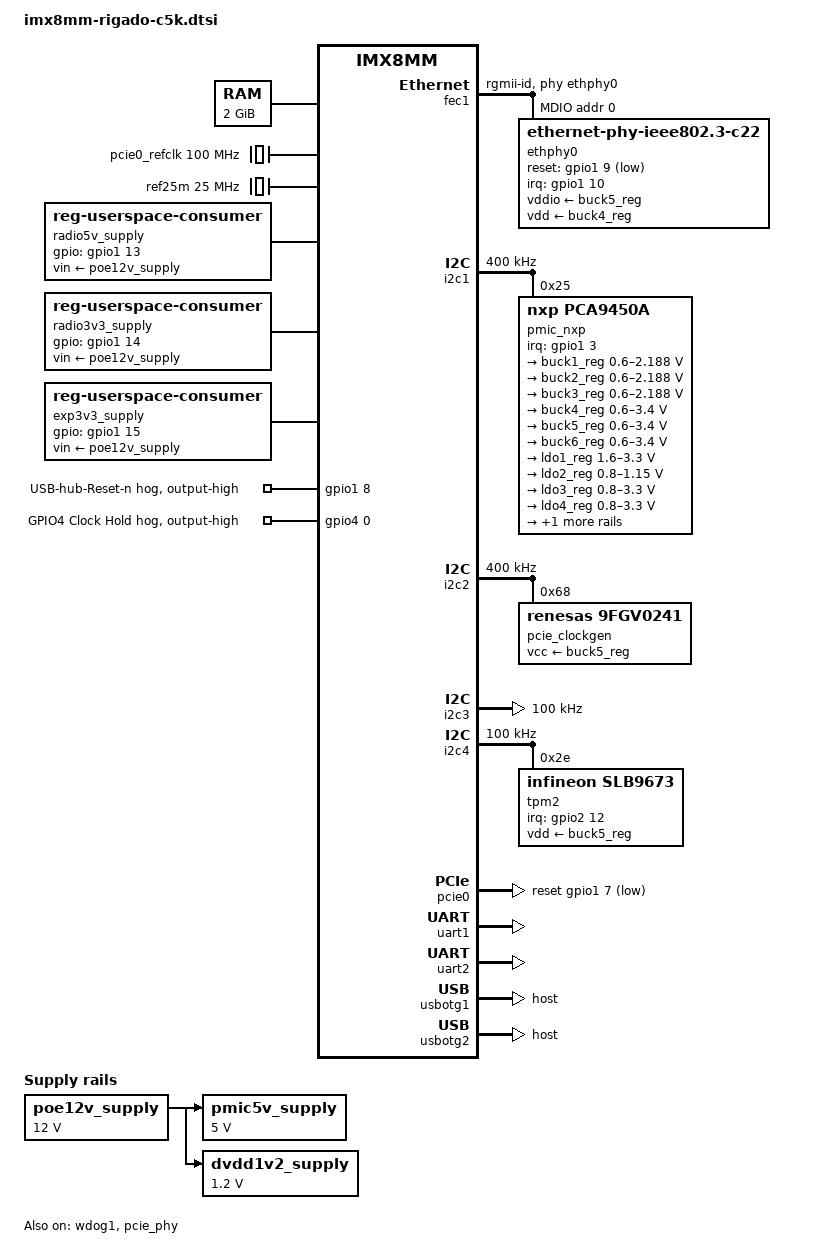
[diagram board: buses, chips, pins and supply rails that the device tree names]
// SPDX-License-Identifier: (GPL-2.0+ OR MIT)
/*
 * Copyright 2025 Rigado
 * Based on imx8mm-evk.dts, Copyright 2020 NXP
*/
/dts-v1/;

#include <dt-bindings/phy/phy-imx8-pcie.h>
#include <dt-bindings/usb/pd.h>
#include "imx8mm.dtsi"

/ {
	chosen {
		stdout-path = &uart2;
	};

	memory@40000000 {
		device_type = "memory";
		reg = <0x0 0x40000000 0 0x80000000>;
	};

	pcie0_refclk: pcie0-refclk {
		compatible = "fixed-clock";
		#clock-cells = <0>;
		clock-frequency = <100000000>;
	};

	ref25m: ref25m {
		compatible = "fixed-clock";
		#clock-cells = <0>;
		clock-frequency = <25000000>;
	};

	poe12v_supply: poe12v-supply {
		compatible = "regulator-fixed";
		regulator-name = "PoE Main 12V Power";
		regulator-min-microvolt = <12000000>;
		regulator-max-microvolt = <12000000>;
		regulator-boot-on;
	};

	pmic5v_supply: pmic5v-supply {
		compatible = "regulator-fixed";
		regulator-name = "PMIC 5V Main Power";
		regulator-min-microvolt = <5000000>;
		regulator-max-microvolt = <5000000>;
		regulator-boot-on;
		vin-supply = <&poe12v_supply>;
	};

	radio5v_supply: radio5v-supply {
		compatible = "reg-userspace-consumer";
		regulator-name = "Radio Board 5V Main Power";
		regulator-min-microvolt = <5000000>;
		regulator-max-microvolt = <5000000>;
		gpio = <&gpio1 13 GPIO_ACTIVE_HIGH>;
		startup-delay-us = <70000>;
		enable-active-high;
		vin-supply = <&poe12v_supply>;
	};

	radio3v3_supply: radio3v3-supply {
		compatible = "reg-userspace-consumer";
		regulator-name = "Radio Board 3.3V Main Power";
		regulator-min-microvolt = <3300000>;
		regulator-max-microvolt = <3300000>;
		gpio = <&gpio1 14 GPIO_ACTIVE_HIGH>;
		startup-delay-us = <70000>;
		enable-active-high;
		vin-supply = <&poe12v_supply>;
	};

	exp3v3_supply: exp3v3-supply {
		compatible = "reg-userspace-consumer";
		regulator-name = "m-PCIe M.2 Expansion 3.3V Power";
		regulator-min-microvolt = <3300000>;
		regulator-max-microvolt = <3300000>;
		gpio = <&gpio1 15 GPIO_ACTIVE_HIGH>;
		startup-delay-us = <70000>;
		enable-active-high;
		vin-supply = <&poe12v_supply>;
	};

	dvdd1v2_supply: dvdd1v2-supply {
		compatible = "regulator-fixed";
		regulator-name = "PCIe Switch 1.2V Power";
		regulator-min-microvolt = <1200000>;
		regulator-max-microvolt = <1200000>;
		regulator-boot-on;
		vin-supply = <&poe12v_supply>;
	};
};

&A53_0 {
	cpu-supply = <&buck2_reg>;
};

&A53_1 {
	cpu-supply = <&buck2_reg>;
};

&A53_2 {
	cpu-supply = <&buck2_reg>;
};

&A53_3 {
	cpu-supply = <&buck2_reg>;
};

&wdog1 {
	pinctrl-names = "default";
	pinctrl-0 = <&pinctrl_wdog>;
	fsl,ext-reset-output;
	status = "okay";
};

&fec1 {
	pinctrl-names = "default";
	pinctrl-0 = <&pinctrl_fec1>;
	phy-mode = "rgmii-id";
	phy-handle = <&ethphy0>;
	fsl,magic-packet;
	status = "okay";

	mdio {
		#address-cells = <1>;
		#size-cells = <0>;

		ethphy0: ethernet-phy@0 {
			compatible = "ethernet-phy-ieee802.3-c22";
			interrupt-parent = <&gpio1>;
			interrupts = <10 IRQ_TYPE_LEVEL_LOW>;
			reg = <0>;
			reset-gpios = <&gpio1 9 GPIO_ACTIVE_LOW>;
			reset-assert-us = <10000>;
			reset-deassert-us = <80000>;
			at803x,led-act-blind-workaround;
			at803x,eee-okay;
			at803x,vddio-1p8v;
			vddio-supply = <&buck5_reg>;
			vdd-supply = <&buck4_reg>;
		};
	};
};

&i2c1 {
	clock-frequency = <400000>;
	pinctrl-names = "default";
	pinctrl-0 = <&pinctrl_i2c1>;
	status = "okay";
	pmic_nxp: pca9450@25 {
		compatible = "nxp,pca9450a";
		reg = <0x25>;
		pinctrl-0 = <&pinctrl_pmic>;
		pinctrl-names = "default";
		interrupt-parent = <&gpio1>;
		interrupts = <3 IRQ_TYPE_LEVEL_LOW>;

		regulators {
			buck1_reg: BUCK1 {
				regulator-name = "BUCK1";
				regulator-min-microvolt = <600000>;
				regulator-max-microvolt = <2187500>;
				regulator-boot-on;
				regulator-always-on;
				regulator-ramp-delay = <3125>;
				nxp,dvs-run-voltage = <850000>;
				nxp,dvs-standby-voltage = <800000>;
				vin-supply = <&pmic5v_supply>;
			};

			buck2_reg: BUCK2 {
				regulator-name = "BUCK2";
				regulator-min-microvolt = <600000>;
				regulator-max-microvolt = <2187500>;
				regulator-boot-on;
				regulator-always-on;
				regulator-ramp-delay = <3125>;
				vin-supply = <&pmic5v_supply>;
			};

			buck3_reg: BUCK3 {
				regulator-name = "BUCK3";
				regulator-min-microvolt = <600000>;
				regulator-max-microvolt = <2187500>;
				regulator-boot-on;
				regulator-always-on;
				vin-supply = <&pmic5v_supply>;
			};

			buck4_reg: BUCK4 {
				regulator-name = "BUCK4";
				regulator-min-microvolt = <600000>;
				regulator-max-microvolt = <3400000>;
				regulator-boot-on;
				regulator-always-on;
				vin-supply = <&pmic5v_supply>;
			};

			buck5_reg: BUCK5 {
				regulator-name = "BUCK5";
				regulator-min-microvolt = <600000>;
				regulator-max-microvolt = <3400000>;
				regulator-boot-on;
				regulator-always-on;
				vin-supply = <&pmic5v_supply>;
			};

			buck6_reg: BUCK6 {
				regulator-name = "BUCK6";
				regulator-min-microvolt = <600000>;
				regulator-max-microvolt = <3400000>;
				regulator-boot-on;
				regulator-always-on;
				vin-supply = <&pmic5v_supply>;
			};

			ldo1_reg: LDO1 {
				regulator-name = "LDO1";
				regulator-min-microvolt = <1600000>;
				regulator-max-microvolt = <3300000>;
				regulator-boot-on;
				regulator-always-on;
				vin-supply = <&pmic5v_supply>;
			};

			ldo2_reg: LDO2 {
				regulator-name = "LDO2";
				regulator-min-microvolt = <800000>;
				regulator-max-microvolt = <1150000>;
				regulator-boot-on;
				regulator-always-on;
				vin-supply = <&pmic5v_supply>;
			};

			ldo3_reg: LDO3 {
				regulator-name = "LDO3";
				regulator-min-microvolt = <800000>;
				regulator-max-microvolt = <3300000>;
				regulator-boot-on;
				regulator-always-on;
				vin-supply = <&pmic5v_supply>;
			};

			ldo4_reg: LDO4 {
				regulator-name = "LDO4";
				regulator-min-microvolt = <800000>;
				regulator-max-microvolt = <3300000>;
				regulator-boot-on;
				regulator-always-on;
				vin-supply = <&pmic5v_supply>;
			};

			ldo5_reg: LDO5 {
				regulator-name = "LDO5";
				regulator-min-microvolt = <1800000>;
				regulator-max-microvolt = <3300000>;
			};
		};
	};
};

&i2c2 {
	clock-frequency = <400000>;
	pinctrl-names = "default";
	pinctrl-0 = <&pinctrl_i2c2>;
	status = "okay";

	pcie_clockgen: 9fgv0241@68 {
		compatible = "renesas,9fgv0241";
		reg = <0x68>;
		#clock-cells = <1>;
		clocks = <&ref25m>;
		vcc-supply = <&buck5_reg>;
		DIF0 {
			renesas,slew-rate = <3000000>;
		};
		DIF1 {
			renesas,slew-rate = <3000000>;
		};
	};

	usb2514b@50 {
		status = "disabled";
		compatible = "microchip,usb2514b";
		reg = <0x50>;
		pinctrl-0 = <&pinctrl_usb2>;
		reset-gpios = <&gpio1 8 GPIO_ACTIVE_LOW>;
		non-removable-ports = <3 4>;
		vdd-supply = <&buck4_reg>;
		};
};

&i2c3 {
	clock-frequency = <100000>;
	pinctrl-names = "default";
	pinctrl-0 = <&pinctrl_i2c3>;
	status = "okay";
};

&i2c4 {
	clock-frequency = <100000>;
	pinctrl-names = "default";
	pinctrl-0 = <&pinctrl_i2c4>;
	status = "okay";

	tpm: tpm@2e {
		compatible = "infineon,slb9673", "tcg,tpm-tis-i2c";
		reg = <0x2e>;
		label = "tpm2";
		interrupt-parent = <&gpio2>;
		interrupts = <12 IRQ_TYPE_LEVEL_HIGH>;
		vdd-supply = <&buck5_reg>;
	};
};

&gpio1 {
	// GPIO hog USB hub reset line high for when I2C driver cannot be loaded
	usb-hub-en {
		gpio-hog;
		gpios = <8 GPIO_ACTIVE_HIGH>;
		output-high;
		line-name = "USB-hub-Reset-n";
	};
};

&gpio4 {
	// Hold a GPIO in block 4 active so clock stays active
	// Needed to avoid lock-up issues with OpenOCD which writes driectly to GPIO registers
	gp4-hold {
		gpio-hog;
		gpios =<0 GPIO_ACTIVE_HIGH>;
		output-high;
		line-name = "GPIO4 Clock Hold";
	};
};

&pcie_phy {
	fsl,refclk-pad-mode = <IMX8_PCIE_REFCLK_PAD_INPUT>;
	fsl,clkreq-unsupported;
	fsl,tx-deemph-gen1 = <0x2d>;
	fsl,tx-deemph-gen2 = <0xf>;
	clocks = <&pcie0_refclk>;
	status = "okay";
};

&pcie0{
	pinctrl-names = "default";
	pinctrl-0 = <&pinctrl_pcie0>;
	reset-gpio = <&gpio1 7 GPIO_ACTIVE_LOW>;
	clocks = <&clk IMX8MM_CLK_PCIE1_ROOT>, <&pcie0_refclk>,
		 <&clk IMX8MM_CLK_PCIE1_AUX>;
	assigned-clocks = <&clk IMX8MM_CLK_PCIE1_AUX>,
			  <&clk IMX8MM_CLK_PCIE1_CTRL>;
	assigned-clock-rates = <10000000>, <250000000>;
	assigned-clock-parents = <&clk IMX8MM_SYS_PLL2_50M>,
				 <&clk IMX8MM_SYS_PLL2_250M>;
	vpcie-supply = <&exp3v3_supply>;
	status = "okay";
};

&uart1 { /* M.2 UART */
	pinctrl-names = "default";
	pinctrl-0 = <&pinctrl_uart1>;
	assigned-clocks = <&clk IMX8MM_CLK_UART1>;
	assigned-clock-parents = <&clk IMX8MM_SYS_PLL1_80M>;
	fsl,uart-has-rtscts;
	status = "okay";
};

&uart2 { /* console */
	pinctrl-names = "default";
	pinctrl-0 = <&pinctrl_uart2>;
	status = "okay";
};

&uart3 { /* Blocked by pin muxing */
	status = "disabled";
};

/* Radio board USB */
&usbphynop1 {
	wakeup-source;
	vbus-supply = <&radio5v_supply>;
};

&usbotg1 {
	dr_mode = "host";
	hnp-disable;
	srp-disable;
	adp-disable;
	disable-over-current;
	status = "okay";
};

/* Hub USB to m-PCIe, M.2, and USB-UART */
&usbphynop2 {
	wakeup-source;
	vbus-supply = <&exp3v3_supply>;
};

&usbotg2 {
	dr_mode = "host";
	hnp-disable;
	srp-disable;
	adp-disable;
	disable-over-current;
	status = "okay";
};

&iomuxc {
	pinctrl_i2c1: i2c1grp {
		fsl,pins = <
			MX8MM_IOMUXC_I2C1_SCL_I2C1_SCL			0x400001c3
			MX8MM_IOMUXC_I2C1_SDA_I2C1_SDA			0x400001c3
		>;
	};

	pinctrl_i2c2: i2c2grp {
		fsl,pins = <
			MX8MM_IOMUXC_I2C2_SCL_I2C2_SCL			0x400001c3
			MX8MM_IOMUXC_I2C2_SDA_I2C2_SDA			0x400001c3
		>;
	};

	pinctrl_i2c3: i2c3grp {
		fsl,pins = <
			MX8MM_IOMUXC_I2C3_SCL_I2C3_SCL			0x400001c3
			MX8MM_IOMUXC_I2C3_SDA_I2C3_SDA			0x400001c3
		>;
	};

	pinctrl_i2c4: i2c4grp {
		fsl,pins = <
			MX8MM_IOMUXC_I2C4_SCL_I2C4_SCL			0x400001c3
			MX8MM_IOMUXC_I2C4_SDA_I2C4_SDA			0x400001c3
		>;
	};

	pinctrl_pmic: pmicirqgrp {
		fsl,pins = <
			MX8MM_IOMUXC_GPIO1_IO03_GPIO1_IO3		0x141
		>;
	};

	pinctrl_usb2: usb2grp {
		fsl,pins = <
			MX8MM_IOMUXC_GPIO1_IO08_GPIO1_IO8		0x150
		>;
	};

	pinctrl_fec1: fec1grp {
		fsl,pins = <
			MX8MM_IOMUXC_ENET_MDC_ENET1_MDC		0x4
			MX8MM_IOMUXC_ENET_MDIO_ENET1_MDIO		0x4
			MX8MM_IOMUXC_ENET_TD3_ENET1_RGMII_TD3		0x4
			MX8MM_IOMUXC_ENET_TD2_ENET1_RGMII_TD2		0x4
			MX8MM_IOMUXC_ENET_TD1_ENET1_RGMII_TD1		0x4
			MX8MM_IOMUXC_ENET_TD0_ENET1_RGMII_TD0		0x4
			MX8MM_IOMUXC_ENET_RD3_ENET1_RGMII_RD3		0x89
			MX8MM_IOMUXC_ENET_RD2_ENET1_RGMII_RD2		0x89
			MX8MM_IOMUXC_ENET_RD1_ENET1_RGMII_RD1		0x89
			MX8MM_IOMUXC_ENET_RD0_ENET1_RGMII_RD0		0x89
			MX8MM_IOMUXC_ENET_TXC_ENET1_RGMII_TXC		0x0C
			MX8MM_IOMUXC_ENET_RXC_ENET1_RGMII_RXC		0x89
			MX8MM_IOMUXC_ENET_RX_CTL_ENET1_RGMII_RX_CTL	0x89
			MX8MM_IOMUXC_ENET_TX_CTL_ENET1_RGMII_TX_CTL	0x1f
			MX8MM_IOMUXC_GPIO1_IO09_GPIO1_IO9		0x150
		>;
	};

	pinctrl_pcie0: pcie0grp {
		fsl,pins = <
			MX8MM_IOMUXC_GPIO1_IO07_GPIO1_IO7		0x41
		>;
	};

	pinctrl_uart1: uart1grp {
		fsl,pins = <
			MX8MM_IOMUXC_UART1_RXD_UART1_DCE_RX		0x140
			MX8MM_IOMUXC_UART1_TXD_UART1_DCE_TX		0x140
			MX8MM_IOMUXC_UART3_RXD_UART1_DCE_CTS_B		0x140
			MX8MM_IOMUXC_UART3_TXD_UART1_DCE_RTS_B		0x140
		>;
	};

	pinctrl_uart2: uart2grp {
		fsl,pins = <
			MX8MM_IOMUXC_UART2_RXD_UART2_DCE_RX		0x140
			MX8MM_IOMUXC_UART2_TXD_UART2_DCE_TX		0x140
		>;
	};

	pinctrl_wdog: wdoggrp {
		fsl,pins = <
			MX8MM_IOMUXC_GPIO1_IO02_WDOG1_WDOG_B		0x166
		>;
	};
};
